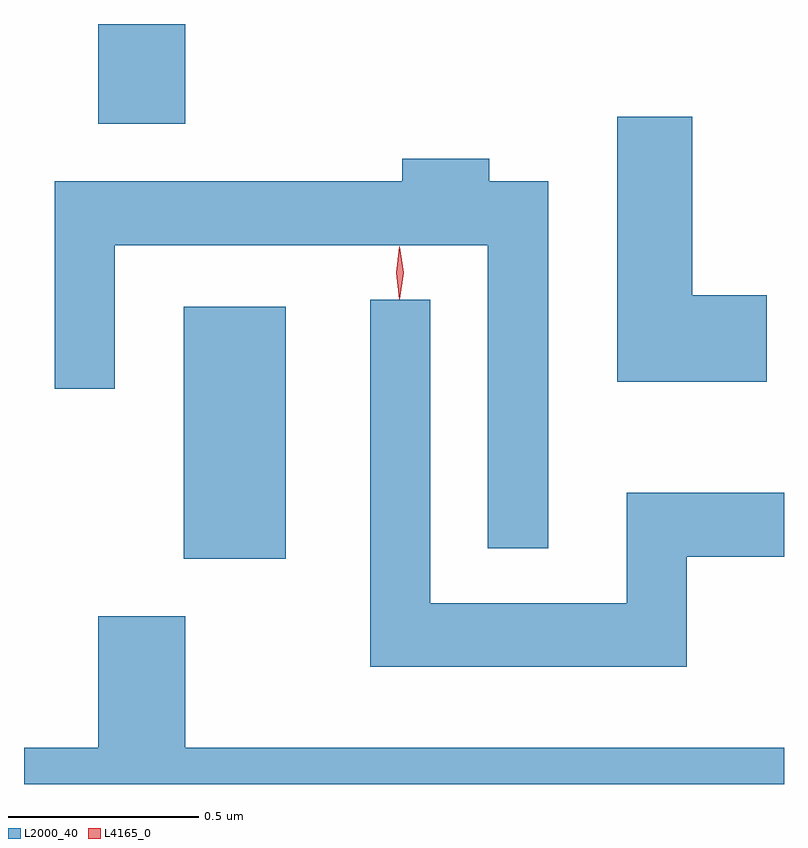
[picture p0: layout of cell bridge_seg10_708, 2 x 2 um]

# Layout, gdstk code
import gdstk
lib = gdstk.Library(unit=1e-6, precision=1e-09)
def R(c, l, rs):  # rectangles x0, y0, x1, y1
    for r in rs: c.add(gdstk.rectangle(r[:2], r[2:], *l))
def P(c, l, *ps):  # polygons
    for p in ps: c.add(gdstk.Polygon(p, *l))
L2000_40 = (2000, 40)
L4165_0 = (4165, 0)

bridge_seg10_708 = lib.new_cell('bridge_seg10_708')
R(bridge_seg10_708, L2000_40, [(949.716,2123.561,949.984,2124.224), (949.491,2124.706,949.719,2124.968)])
P(bridge_seg10_708, L2000_40, [(951.249,2124.254),(951.054,2124.254),(951.054,2124.724),(950.856,2124.724),(950.856,2124.026),(951.249,2124.026)],
  [(950.674,2124.554),(950.519,2124.554),(950.519,2124.614),(950.291,2124.614),(950.291,2124.554),(949.376,2124.554),(949.376,2124.008),(949.534,2124.008),(949.534,2124.386),(950.516,2124.386),(950.516,2123.588),(950.674,2123.588)],
  [(951.039,2123.566),(951.295,2123.566),(951.295,2123.734),(950.881,2123.734),(950.881,2123.444),(950.364,2123.444),(950.364,2124.243),(950.206,2124.243),(950.206,2123.276),(951.039,2123.276)],
  [(951.295,2123.064),(949.719,2123.064),(949.719,2123.409),(949.491,2123.409),(949.491,2123.064),(949.295,2123.064),(949.295,2122.968),(951.295,2122.968)])
P(bridge_seg10_708, L4165_0, [(950.283,2124.247),(950.274,2124.314),(950.283,2124.38),(950.284,2124.38),(950.284,2124.38),(950.294,2124.314),(950.284,2124.247),(950.284,2124.247)],
  [(950.283,2124.244),(950.274,2124.314),(950.283,2124.382),(950.284,2124.383),(950.284,2124.382),(950.294,2124.314),(950.284,2124.244),(950.284,2124.244)])

lib.write_gds('bridge_seg10_708.gds')
